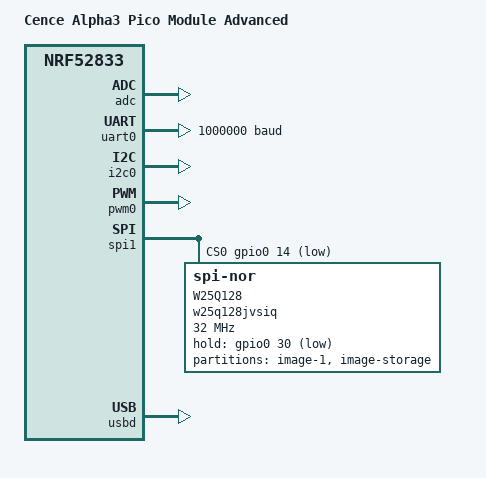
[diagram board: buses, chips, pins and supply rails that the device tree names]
/*
 * Copyright (c) 2020 Laird Connectivity
 *
 * SPDX-License-Identifier: Apache-2.0
 */

/dts-v1/;
#include <nordic/nrf52833_qiaa.dtsi>
#include "alpha3_advanced-pinctrl.dtsi"

/ {
	model = "Cence Alpha3 Pico Module Advanced";
	compatible = "cence,alpha3_advanced";

	chosen {
		zephyr,console = &uart0;
		zephyr,shell-uart = &uart0;
		zephyr,uart-mcumgr = &uart0;
		zephyr,bt-mon-uart = &uart0;
		zephyr,bt-c2h-uart = &uart0;
		zephyr,sram = &sram0;
		zephyr,flash = &flash0;
        nordic,pm-ext-flash = &w25q128; 
        zephyr,code-partition = &slot0_partition;
	};

	//leds {
		//compatible = "gpio-leds";
		//led1: led_1 {
			//gpios = <&gpio0 13 GPIO_ACTIVE_LOW>;
			//label = "Blue LED 1";
		//};
		//led2: led_2 {
			//gpios = <&gpio0 14 GPIO_ACTIVE_LOW>;
			//label = "Blue LED 2";
		//};
		//led3: led_3 {
			//gpios = <&gpio0 15 GPIO_ACTIVE_LOW>;
			//label = "Blue LED 3";
		//};
		//led4: led_4 {
			//gpios = <&gpio0 16 GPIO_ACTIVE_LOW>;
			//label = "Blue LED 4";
		//};
	//};

	//buttons {
		//compatible = "gpio-keys";
		//button1: button_1 {
			//gpios = <&gpio0 11 GPIO_PULL_UP>;
			//label = "Push button switch 1 (SW1)";
		//};
		//button2: button_2 {
			//gpios = <&gpio0 12 GPIO_PULL_UP>;
			//label = "Push button switch 2 (SW2)";
		//};
		//button3: button_3 {
			//gpios = <&gpio0 24 GPIO_PULL_UP>;
			//label = "Push button switch 3 (SW9)";
		//};
		//button4: button_4 {
			//gpios = <&gpio0 22 GPIO_PULL_UP>;
			//label = "Push button switch 4 (SW10)";
		//};
	//};

	/* These aliases are provided for compatibility with samples */
	//aliases {
		//led0 = &led1;
		//led1 = &led2;
		//led2 = &led3;
		//led3 = &led4;
		//sw0 = &button1;
		//sw1 = &button2;
		//sw2 = &button3;
		//sw3 = &button4;
	//};
};

&adc {
	status = "okay";
};

&gpiote {
	status = "okay";
};

&gpio0 {
	status = "okay";
};

&gpio1 {
	status = "okay";
};

&uart0 {
	compatible = "nordic,nrf-uart";
	current-speed = <1000000>;
	status = "okay";
	pinctrl-0 = <&uart0_default>;
	pinctrl-1 = <&uart0_sleep>;
	pinctrl-names = "default", "sleep";
};

&i2c0 {
	compatible = "nordic,nrf-twim", "nordic,nrf-twi";
	status = "okay";

	pinctrl-0 = <&i2c0_default>;
	pinctrl-1 = <&i2c0_sleep>;
	pinctrl-names = "default", "sleep";

	eeprom0: eeprom@50 {
		compatible = "st,m24c64";
		reg = <0x50>;
		status = "disabled";
		label = "EEPROM_M24C64";
		size = <0x10000>;
		pagesize = <8>;
		address-width = <8>;
		timeout = <5>;
	};
};


&pwm0 {
	status = "okay";
	pinctrl-0 = <&pwm0_default>;
	pinctrl-1 = <&pwm0_sleep>;
	pinctrl-names = "default", "sleep";
};

&spi1 {
	compatible = "nordic,nrf-spim";
	status = "okay";
	cs-gpios = <&gpio0 14 GPIO_ACTIVE_LOW>;
	pinctrl-0 = <&spi1_default>;
	pinctrl-1 = <&spi1_sleep>;
	pinctrl-names = "default", "sleep";

    w25q128:w25q128jvsiq@0 {
        compatible = "jedec,spi-nor";
        reg = <0>;
        spi-max-frequency = <32000000>;
        label = "W25Q128";
        jedec-id = [ef 40 18];
        sfdp-bfp = [ 
            e5 20 f9 ff  ff ff ff 07  44 eb 08 6b  08 3b 42 bb
            fe ff ff ff  ff ff 00 00  ff ff 40 eb  0c 20 0f 52
            10 d8 00 00  36 02 a6 00  82 ea 14 c9  e9 63 76 33
            7a 75 7a 75  f7 a2 d5 5c  19 f7 4d ff  e9 30 f8 80
        ];
        size = <0x8000000>;
        hold-gpios = <&gpio0 30 GPIO_ACTIVE_LOW>;
        has-dpd;
        t-enter-dpd = <3000>;
        t-exit-dpd = <3000>;
    };
};

&flash0 {
	partitions {
		compatible = "fixed-partitions";
		#address-cells = <1>;
		#size-cells = <1>;

		boot_partition: partition@0 {
			label = "mcuboot";
			reg = <0x0 0x10000>;
		};

		slot0_partition: partition@10000 {
			label = "image-0";
			reg = <0x10000 0x68000>;
		};
		scratch_partition: partition@78000 {
			label = "image-scratch";
			reg = <0x78000 0x8000>;
		};
	};
};

&w25q128 {
    partitions {
        compatible = "fixed-partitions"; 
        #address-cells = <1>;
        #size-cells = <1>;
		slot1_partition: partition@0 {
			label = "image-1";
			reg = <0x0 0x68000>;
		};
		lfs_partition: partition@64000 {
			label = "image-storage";
			reg = <0x68000 0xf98000>;
		};

    };
};

zephyr_udc0: &usbd {
	compatible = "nordic,nrf-usbd";
	status = "okay";
};
